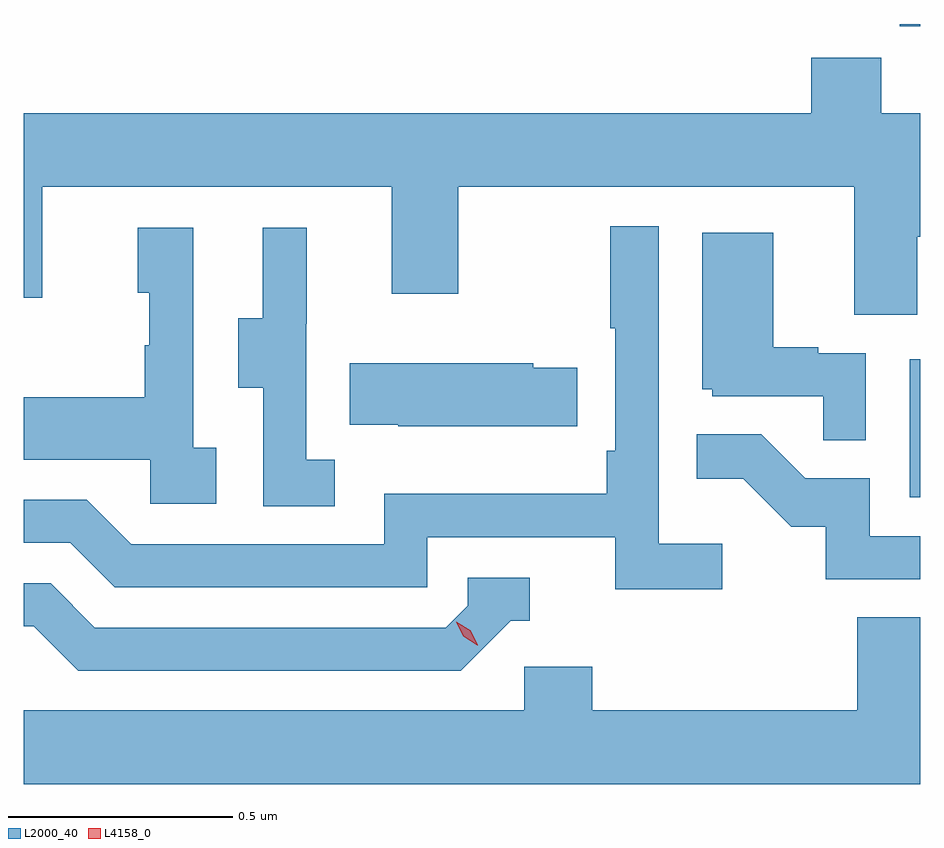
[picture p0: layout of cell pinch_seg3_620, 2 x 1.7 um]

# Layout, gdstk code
import gdstk
lib = gdstk.Library(unit=1e-6, precision=1e-09)
def R(c, l, rs):  # rectangles x0, y0, x1, y1
    for r in rs: c.add(gdstk.rectangle(r[:2], r[2:], *l))
def P(c, l, *ps):  # polygons
    for p in ps: c.add(gdstk.Polygon(p, *l))
L2000_40 = (2000, 40)
L4158_0 = (4158, 0)

pinch_seg3_620 = lib.new_cell('pinch_seg3_620')
R(pinch_seg3_620, L2000_40, [(1038.266,701.556,1038.29,701.863), (1038.244,702.606,1038.29,702.611)])
P(pinch_seg3_620, L2000_40, [(1038.283,702.136),(1038.29,702.136),(1038.29,702.412),(1038.203,702.412),(1038.203,702.536),(1038.047,702.536),(1038.047,702.412),(1036.29,702.412),(1036.29,702),(1036.331,702),(1036.331,702.248),(1037.111,702.248),(1037.111,702.009),(1037.259,702.009),(1037.259,702.248),(1038.143,702.248),(1038.143,701.962),(1038.283,701.962)],
  [(1037.848,701.452),(1037.706,701.452),(1037.706,702.16),(1037.598,702.16),(1037.598,701.932),(1037.61,701.932),(1037.61,701.659),(1037.59,701.659),(1037.59,701.563),(1037.094,701.563),(1037.094,701.451),(1036.53,701.451),(1036.431,701.55),(1036.29,701.55),(1036.29,701.454),(1036.394,701.454),(1036.493,701.355),(1037.19,701.355),(1037.19,701.466),(1037.609,701.466),(1037.609,701.35),(1037.848,701.35)],
  [(1036.72,701.666),(1036.668,701.666),(1036.668,702.157),(1036.544,702.157),(1036.544,702.012),(1036.57,702.012),(1036.57,701.894),(1036.56,701.894),(1036.56,701.779),(1036.29,701.779),(1036.29,701.639),(1036.572,701.639),(1036.572,701.541),(1036.72,701.541)],
  [(1036.984,701.639),(1036.92,701.639),(1036.92,701.943),(1036.922,701.943),(1036.922,702.157),(1036.823,702.157),(1036.823,701.955),(1036.769,701.955),(1036.769,701.8),(1036.824,701.8),(1036.824,701.536),(1036.984,701.536)],
  [(1038.168,701.877),(1038.062,701.877),(1038.062,701.89),(1037.962,701.89),(1037.962,702.145),(1037.804,702.145),(1037.804,701.796),(1037.826,701.796),(1037.826,701.781),(1038.073,701.781),(1038.073,701.683),(1038.168,701.683)],
  [(1037.525,701.844),(1037.427,701.844),(1037.427,701.854),(1037.017,701.854),(1037.017,701.717),(1037.125,701.717),(1037.125,701.714),(1037.525,701.714)],
  [(1038.29,701.469),(1038.177,701.469),(1038.177,701.598),(1038.033,701.598),(1037.935,701.696),(1037.791,701.696),(1037.791,701.597),(1037.895,701.597),(1038.002,701.49),(1038.079,701.49),(1038.079,701.373),(1038.29,701.373)],
  [(1037.376,701.28),(1037.419,701.28),(1037.419,701.376),(1037.28,701.376),(1037.28,701.313),(1037.232,701.265),(1036.449,701.265),(1036.35,701.364),(1036.29,701.364),(1036.29,701.268),(1036.313,701.268),(1036.412,701.169),(1037.265,701.169)],
  [(1038.29,701.288),(1038.149,701.288),(1038.149,701.08),(1037.558,701.08),(1037.558,701.178),(1037.406,701.178),(1037.406,701.08),(1036.29,701.08),(1036.29,700.916),(1038.29,700.916)])
P(pinch_seg3_620, L4158_0, [(1037.302,701.226),(1037.271,701.245),(1037.255,701.278),(1037.255,701.278),(1037.255,701.278),(1037.286,701.259),(1037.303,701.227),(1037.303,701.226)])

lib.write_gds('pinch_seg3_620.gds')
